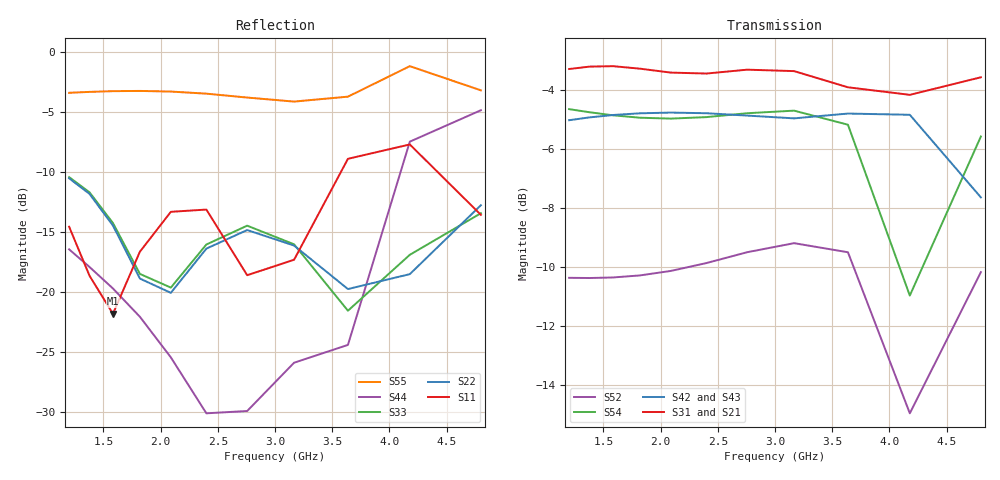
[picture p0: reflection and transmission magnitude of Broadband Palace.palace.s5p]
! Generated by circuitRF - EM: Palace
! circuitRF-EM setup: Broadband Palace
! circuitRF-EM layout: Broadband.c3d
! circuitRF-EM written: 2026-11-15 23:49:21Z
! circuitRF-EM stamp: 20261115T234921Z-baaa8f9c
! circuitRF-EM geometry: 277f523d2c9fa771
! circuitRF-EM mesh settings: a7694d155dadb9d5
! circuitRF-EM ports: 08e6998db535ac73
! circuitRF-EM model: Palace 0.18.1 (0dc74cd, schema 1-7-0)
! Port[1] = P1
! Port[2] = P2
! Port[3] = P3
! Port[4] = R1
! Port[5] = R2
! circuitRF-EM port 1: 'port/1' from 'U1/Bottom Copper (1 oz)/1' to 'U1/Top Copper (1 oz)/1', lumped, 50 Ohm
! circuitRF-EM port 2: 'port/2' from 'U1/Bottom Copper (1 oz)/1' to 'U1/Top Copper (1 oz)/1', lumped, 50 Ohm
! circuitRF-EM port 3: 'port/3' from 'U1/Bottom Copper (1 oz)/1' to 'U1/Top Copper (1 oz)/1', lumped, 50 Ohm
! circuitRF-EM port 4: 'port/4' from 'U1/Top Copper (1 oz)/1' to 'U1/Top Copper (1 oz)/1', lumped, 50 Ohm
! circuitRF-EM port 5: 'port/5' from 'U1/Top Copper (1 oz)/1' to 'U1/Top Copper (1 oz)/1', lumped, 50 Ohm
! Port 1 = P01  P1  net=?  ref=U1/Bottom Copper (1 oz)/1  uncalibrated
! Port 2 = P02  P2  net=?  ref=U1/Bottom Copper (1 oz)/1  uncalibrated
! Port 3 = P03  P3  net=?  ref=U1/Bottom Copper (1 oz)/1  uncalibrated
! Port 4 = P04  R1  net=?  ref=U1/Top Copper (1 oz)/1  uncalibrated
! Port 5 = P05  R2  net=?  ref=U1/Top Copper (1 oz)/1  uncalibrated
! DC: none, the lowest row is 1.2 GHz; a circuit's DC solve through this file takes that row as DC
! circuitRF-EM 3D mesh: 109,239 elements initially, 109,239 finally, 0 adaptive pass(es), element order 1
! circuitRF-EM 3D operating temperature: 20 C
! circuitRF-EM 3D run: preset Draft; 109239 -> 109239 tetrahedra; 141046 unknowns; 0 refinement pass(es); 4 frequency sample(s)
! circuitRF-EM 3D run cost: wall 183 s; Palace peak memory 3.6 GB
! circuitRF-EM: re-running the EM setup rewrites this file. If circuitRF reports it as stale, the layout's cross-section changed after this file was written.
# GHz S RI R 50
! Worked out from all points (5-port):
!   11 points, 1.2 GHz to 4.8 GHz, reference 50 ohm
!   strongest paths, dB at 1.2 GHz, 1.583 GHz, 2.4 GHz, 3.638 GHz, 4.8 GHz:
!     S31: -3.3, -3.2, -3.5, -3.9, -3.6
!     S21: -3.3, -3.2, -3.5, -4.0, -3.6
!     S42: -5.0, -4.9, -4.8, -4.8, -7.6
!     S43: -5.1, -4.9, -4.8, -4.7, -7.6
!     S54: -4.7, -4.9, -4.9, -5.2, -5.6
!     S52: -10.4, -10.4, -9.9, -9.5, -10.2
!   lowest |S11| = -21.8 dB at 1.583 GHz (marker M1), VSWR 1.18, Z = 43 + j2.9 ohm
!   |S11| at or under -10 dB: start of sweep to 3.575 GHz; 4.424 GHz to end of sweep
